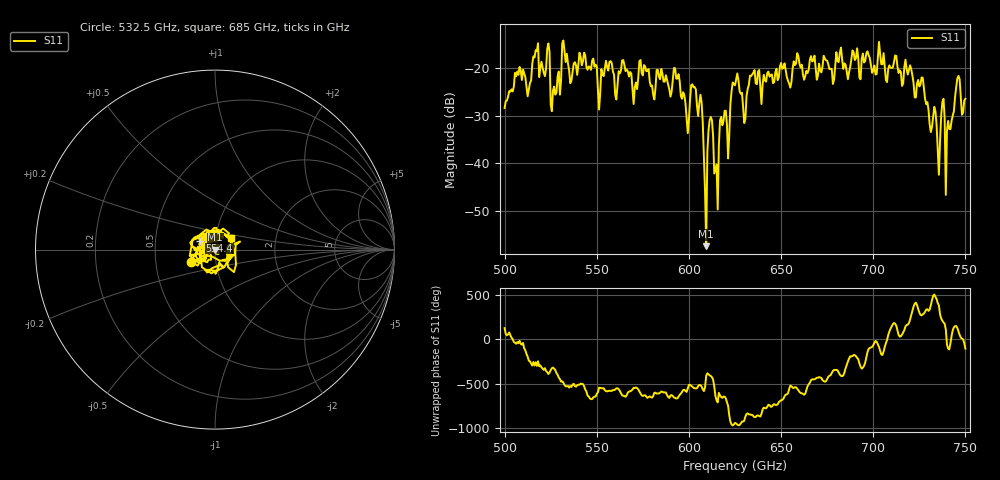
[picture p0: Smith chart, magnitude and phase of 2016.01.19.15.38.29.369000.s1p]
!Created with skrf (http://scikit-rf.org).
# GHz S RI R 50.0
!freq ReS11 ImS11
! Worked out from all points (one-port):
!   401 points, 500 GHz to 750 GHz, reference 50 ohm
!   lowest |S11| = -57.4 dB at 609.4 GHz (marker M1), VSWR 1.00, Z = 50.1 - j0.0985 ohm
!   |S11| at or under -10 dB: start of sweep to end of sweep
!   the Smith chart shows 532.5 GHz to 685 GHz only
!   S11 on the Smith chart (normalised r, x): 532.5 GHz: 0.76, -0.11; 554.4 GHz: 0.84, +0.09; 685 GHz: 1.18, +0.15
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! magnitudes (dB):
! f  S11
! 500 GHz  -28.4
! 516.9 GHz  -16.2
! 523.1 GHz  -15.9
! 526.2 GHz  -24.7
! 531.2 GHz  -14.8
! 532.5 GHz  -16.4
! 554.4 GHz  -20.2
! 562.5 GHz  -21.1
! 593.8 GHz  -22.2
! 598.8 GHz  -30.5
! 606.2 GHz  -25.6
! 609.4 GHz  -57.4
! 611.2 GHz  -31.0
! 615 GHz  -40.3
! 618.1 GHz  -32.0
! 621.2 GHz  -39.0
! 625 GHz  -23.6
! 630 GHz  -31.6
! 634.4 GHz  -21.3
! 656.2 GHz  -20.1
! 685 GHz  -19.3
! 687.5 GHz  -19.8
! 718.8 GHz  -21.4
! 735.6 GHz  -42.4
! 737.5 GHz  -27.2
! 740.6 GHz  -31.1
! 745.6 GHz  -22.2
! 750 GHz  -26.5
